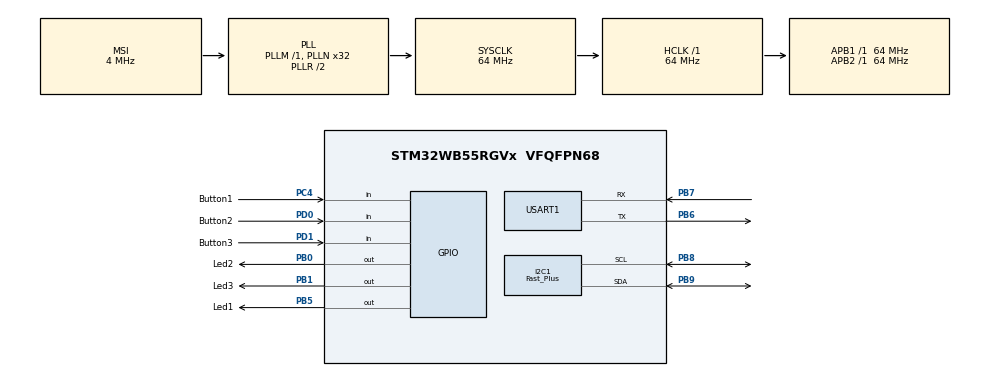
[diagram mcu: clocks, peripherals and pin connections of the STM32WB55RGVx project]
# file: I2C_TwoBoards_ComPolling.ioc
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Dma.Request0=USART1_TX
Dma.Request1=USART1_RX
Dma.USART1_RX.1.Direction=DMA_PERIPH_TO_MEMORY
Dma.USART1_RX.1.EventEnable=DISABLE
Dma.USART1_RX.1.Instance=DMA1_Channel2
Dma.USART1_RX.1.MemDataAlignment=DMA_MDATAALIGN_BYTE
Dma.USART1_RX.1.MemInc=DMA_MINC_ENABLE
Dma.USART1_RX.1.Mode=DMA_NORMAL
Dma.USART1_RX.1.PeriphDataAlignment=DMA_PDATAALIGN_BYTE
Dma.USART1_RX.1.PeriphInc=DMA_PINC_DISABLE
Dma.USART1_RX.1.Polarity=HAL_DMAMUX_REQ_GEN_RISING
Dma.USART1_RX.1.Priority=DMA_PRIORITY_LOW
Dma.USART1_RX.1.RequestNumber=1
Dma.USART1_RX.1.SignalID=NONE
Dma.USART1_RX.1.SyncEnable=DISABLE
Dma.USART1_RX.1.SyncPolarity=HAL_DMAMUX_SYNC_NO_EVENT
Dma.USART1_RX.1.SyncRequestNumber=1
Dma.USART1_RX.1.SyncSignalID=NONE
Dma.USART1_TX.0.Direction=DMA_MEMORY_TO_PERIPH
Dma.USART1_TX.0.EventEnable=DISABLE
Dma.USART1_TX.0.Instance=DMA1_Channel1
Dma.USART1_TX.0.MemDataAlignment=DMA_MDATAALIGN_BYTE
Dma.USART1_TX.0.MemInc=DMA_MINC_ENABLE
Dma.USART1_TX.0.Mode=DMA_NORMAL
Dma.USART1_TX.0.PeriphDataAlignment=DMA_PDATAALIGN_BYTE
Dma.USART1_TX.0.PeriphInc=DMA_PINC_DISABLE
Dma.USART1_TX.0.Polarity=HAL_DMAMUX_REQ_GEN_RISING
Dma.USART1_TX.0.Priority=DMA_PRIORITY_LOW
Dma.USART1_TX.0.RequestNumber=1
Dma.USART1_TX.0.SignalID=NONE
Dma.USART1_TX.0.SyncEnable=DISABLE
Dma.USART1_TX.0.SyncPolarity=HAL_DMAMUX_SYNC_NO_EVENT
Dma.USART1_TX.0.SyncRequestNumber=1
Dma.USART1_TX.0.SyncSignalID=NONE
I2C1.AddressingMode=I2C_ADDRESSINGMODE_10BIT
I2C1.Analog_Filter=I2C_ANALOGFILTER_ENABLE
I2C1.DualAddressMode=I2C_DUALADDRESS_DISABLE
I2C1.GeneralCallMode=I2C_GENERALCALL_DISABLE
I2C1.I2C_Coeff_DF=0
I2C1.I2C_Fall_Time=2
I2C1.I2C_Rise_Time=26
I2C1.I2C_Speed_Mode=I2C_Fast_Plus
I2C1.NoStretchMode=I2C_NOSTRETCH_DISABLE
I2C1.OwnAddress=I2C_ADDRESS
I2C1.Speed=1000
I2C1.Timing=0x00400B27
Mcu.Family=STM32WB
Mcu.Name=STM32WB55RGVx
Mcu.Package=VFQFPN68
Mcu.UserConstants=I2C_ADDRESS,0x30F
NVIC.DMA1_Channel1_IRQn=true\:0\:0\:false\:false\:true\:false\:true
NVIC.DMA1_Channel2_IRQn=true\:0\:0\:false\:false\:true\:false\:true
NVIC.PriorityGroup=NVIC_PRIORITYGROUP_4
NVIC.USART1_IRQn=true\:0\:0\:false\:false\:true\:true\:true
PB0.GPIO_Label=Led2
PB0.GPIO_PuPd=GPIO_PULLDOWN
PB0.Signal=GPIO_Output
PB1.GPIO_Label=Led3
PB1.GPIO_PuPd=GPIO_PULLDOWN
PB1.Signal=GPIO_Output
PB5.GPIO_Label=Led1
PB5.GPIO_PuPd=GPIO_PULLDOWN
PB5.Signal=GPIO_Output
PB6.Mode=Asynchronous
PB6.Signal=USART1_TX
PB7.Mode=Asynchronous
PB7.Signal=USART1_RX
PB8.Mode=I2C
PB8.Signal=I2C1_SCL
PB9.Mode=I2C
PB9.Signal=I2C1_SDA
PC4.GPIO_Label=Button1
PC4.GPIO_PuPd=GPIO_PULLUP
PC4.Signal=GPIO_Input
PD0.GPIO_Label=Button2
PD0.GPIO_PuPd=GPIO_PULLUP
PD0.Signal=GPIO_Input
PD1.GPIO_Label=Button3
PD1.GPIO_PuPd=GPIO_PULLUP
PD1.Signal=GPIO_Input
ProjectManager.HeapSize=0x200
ProjectManager.StackSize=0x400
ProjectManager.TargetToolchain=STM32CubeIDE
RCC.ADCFreq_Value=16000000
RCC.AHB2CLKDivider=RCC_SYSCLK_DIV2
RCC.AHBFreq_Value=64000000
RCC.APB1Freq_Value=64000000
RCC.APB1TimFreq_Value=64000000
RCC.APB2Freq_Value=64000000
RCC.APB2TimFreq_Value=64000000
RCC.APB3Freq_Value=16000000
RCC.CodegenConfigPeriph=false
RCC.CortexFreq_Value=64000000
RCC.HCLKFreq_Value=64000000
RCC.HSE_VALUE=8000000
RCC.HSI48_VALUE=48000000
RCC.HSI_VALUE=16000000
RCC.LSE_VALUE=32768
RCC.MSI_VALUE=4000000
RCC.PLLN=32
RCC.PLLP=RCC_PLLP_DIV5
RCC.PLLQ=4
RCC.SYSCLKFreq_VALUE=64000000
RCC.SYSCLKSource=RCC_SYSCLKSOURCE_PLLCLK
RCC.USBFreq_Value=16000000
RCC.VCOOutputFreq_Value=128000000
USART1.VirtualMode-Asynchronous=VM_ASYNC
board=custom

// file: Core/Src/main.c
/* USER CODE BEGIN Header */
/**
  ******************************************************************************
  * @file           : main.c
  * @brief          : Main program body
  ******************************************************************************
  * @attention
  *
  * <h2><center>&copy; Copyright (c) 2022 STMicroelectronics.
  * All rights reserved.</center></h2>
  *
  * This software component is licensed by ST under BSD 3-Clause license,
  * the "License"; You may not use this file except in compliance with the
  * License. You may obtain a copy of the License at:
  *                        opensource.org/licenses/BSD-3-Clause
  *
  ******************************************************************************
  */
/* USER CODE END Header */
#include "main.h"

I2C_HandleTypeDef hi2c1;

UART_HandleTypeDef huart1;
DMA_HandleTypeDef hdma_usart1_tx;
DMA_HandleTypeDef hdma_usart1_rx;

/* USER CODE BEGIN PV */
#define TXBUFFERSIZE 8
#define RXBUFFERSIZE 8
uint8_t aTxBuffer[TXBUFFERSIZE] = "ABCD1234";
uint8_t aRxBuffer[RXBUFFERSIZE];
/* USER CODE END PV */

void SystemClock_Config(void);
static void MX_GPIO_Init(void);
static void MX_DMA_Init(void);
static void MX_I2C1_Init(void);
static void MX_USART1_UART_Init(void);
/* USER CODE BEGIN PFP */
#ifdef __GNUC__
/* With GCC, small printf (option LD Linker->Libraries->Small printf
   set to 'Yes') calls __io_putchar() */
#define PUTCHAR_PROTOTYPE int __io_putchar(int ch)
#else
#define PUTCHAR_PROTOTYPE int fputc(int ch, FILE *f)
#endif /* __GNUC__ */
/* USER CODE END PFP */

int main(void)
{

  /* MCU Configuration--------------------------------------------------------*/

  /* Reset of all peripherals, Initializes the Flash interface and the Systick. */
  HAL_Init();

  /* Configure the system clock */
  SystemClock_Config();

  /* Initialize all configured peripherals */
  MX_GPIO_Init();
  MX_DMA_Init();
  MX_I2C1_Init();
  MX_USART1_UART_Init();

  /* Infinite loop */
  /* USER CODE BEGIN WHILE */
  while (1)
  {
	  HAL_Delay(10);
    /* USER CODE END WHILE */

    /* USER CODE BEGIN 3 */
	  printf("!!! Start !!! \n");
	/*
	Step 0 : startup, Led 1 on both board
	Step 1 : Slave start receiving
	Step 2 : Press Master button 1 -> Master start sending -> If ok LED 2 on Master + Slave board
	Step 3 : Slave start sending back
	Step 4 : Master start receiving. If ok LED 3 on Master + Slave board
	*/

//#define MASTER
//
//#ifdef MASTER
//	  HAL_GPIO_TogglePin(Led1_GPIO_Port, Led1_Pin);
//	  while (HAL_GPIO_ReadPin(Button1_GPIO_Port, Button1_Pin) != GPIO_PIN_RESET) {}
//
//	  while(HAL_I2C_Master_Transmit(&hi2c1, (uint16_t)I2C_ADDRESS, (uint8_t*)aTxBuffer, TXBUFFERSIZE, 1000)!= HAL_OK){}
//	  HAL_GPIO_TogglePin(Led2_GPIO_Port, Led2_Pin);
//	  while(HAL_I2C_Master_Receive (&hi2c1, (uint16_t)I2C_ADDRESS, (uint8_t *)aRxBuffer, RXBUFFERSIZE, 1000) != HAL_OK){}
//	  HAL_GPIO_TogglePin(Led3_GPIO_Port, Led3_Pin);
//#else
//	  HAL_GPIO_TogglePin(Led1_GPIO_Port, Led1_Pin);
//	  while(HAL_I2C_Slave_Receive(&hi2c1, (uint8_t *)aRxBuffer, RXBUFFERSIZE, 1000) != HAL_OK){}
//	  HAL_GPIO_TogglePin(Led2_GPIO_Port, Led2_Pin);
//	  while(HAL_I2C_Slave_Transmit(&hi2c1, (uint8_t*)aTxBuffer, TXBUFFERSIZE, 1000)!= HAL_OK){}
//	  HAL_GPIO_TogglePin(Led3_GPIO_Port, Led3_Pin);
//#endif

	  while (1)
	  {
		  HAL_Delay(1000);
//		  char tx_buff[]={'A','B','C','D','1','2','3','4','5','6'};
//		  HAL_UART_Transmit(&huart1,tx_buff,10,1000);
//		  HAL_UART_Transmit_DMA(&huart1,tx_buff,10);
		  printf("!!! Loop !!! \n");
	  }
	  /* USER CODE END WHILE */
  }
  /* USER CODE END 3 */
}

void SystemClock_Config(void)
{
  RCC_OscInitTypeDef RCC_OscInitStruct = {0};
  RCC_ClkInitTypeDef RCC_ClkInitStruct = {0};

  /** Initializes the RCC Oscillators according to the specified parameters
  * in the RCC_OscInitTypeDef structure.
  */
  RCC_OscInitStruct.OscillatorType = RCC_OSCILLATORTYPE_MSI;
  RCC_OscInitStruct.MSIState = RCC_MSI_ON;
  RCC_OscInitStruct.MSICalibrationValue = RCC_MSICALIBRATION_DEFAULT;
  RCC_OscInitStruct.MSIClockRange = RCC_MSIRANGE_6;
  RCC_OscInitStruct.PLL.PLLState = RCC_PLL_ON;
  RCC_OscInitStruct.PLL.PLLSource = RCC_PLLSOURCE_MSI;
  RCC_OscInitStruct.PLL.PLLM = RCC_PLLM_DIV1;
  RCC_OscInitStruct.PLL.PLLN = 32;
  RCC_OscInitStruct.PLL.PLLP = RCC_PLLP_DIV5;
  RCC_OscInitStruct.PLL.PLLR = RCC_PLLR_DIV2;
  RCC_OscInitStruct.PLL.PLLQ = 4;
  if (HAL_RCC_OscConfig(&RCC_OscInitStruct) != HAL_OK)
  {
    Error_Handler();
  }
  /** Configure the SYSCLKSource, HCLK, PCLK1 and PCLK2 clocks dividers
  */
  RCC_ClkInitStruct.ClockType = RCC_CLOCKTYPE_HCLK4|RCC_CLOCKTYPE_HCLK2
                              |RCC_CLOCKTYPE_HCLK|RCC_CLOCKTYPE_SYSCLK
                              |RCC_CLOCKTYPE_PCLK1|RCC_CLOCKTYPE_PCLK2;
  RCC_ClkInitStruct.SYSCLKSource = RCC_SYSCLKSOURCE_PLLCLK;
  RCC_ClkInitStruct.AHBCLKDivider = RCC_SYSCLK_DIV1;
  RCC_ClkInitStruct.APB1CLKDivider = RCC_HCLK_DIV1;
  RCC_ClkInitStruct.APB2CLKDivider = RCC_HCLK_DIV1;
  RCC_ClkInitStruct.AHBCLK2Divider = RCC_SYSCLK_DIV2;
  RCC_ClkInitStruct.AHBCLK4Divider = RCC_SYSCLK_DIV1;

  if (HAL_RCC_ClockConfig(&RCC_ClkInitStruct, FLASH_LATENCY_3) != HAL_OK)
  {
    Error_Handler();
  }
  /** Initializes the peripherals clocks
  */
}

static void MX_I2C1_Init(void)
{

  hi2c1.Instance = I2C1;
  hi2c1.Init.Timing = 0x00400B27;
  hi2c1.Init.OwnAddress1 = I2C_ADDRESS;
  hi2c1.Init.AddressingMode = I2C_ADDRESSINGMODE_10BIT;
  hi2c1.Init.DualAddressMode = I2C_DUALADDRESS_DISABLE;
  hi2c1.Init.OwnAddress2 = 0;
  hi2c1.Init.OwnAddress2Masks = I2C_OA2_NOMASK;
  hi2c1.Init.GeneralCallMode = I2C_GENERALCALL_DISABLE;
  hi2c1.Init.NoStretchMode = I2C_NOSTRETCH_DISABLE;
  if (HAL_I2C_Init(&hi2c1) != HAL_OK)
  {
    Error_Handler();
  }
  /** Configure Analogue filter
  */
  if (HAL_I2CEx_ConfigAnalogFilter(&hi2c1, I2C_ANALOGFILTER_ENABLE) != HAL_OK)
  {
    Error_Handler();
  }
  /** Configure Digital filter
  */
  if (HAL_I2CEx_ConfigDigitalFilter(&hi2c1, 0) != HAL_OK)
  {
    Error_Handler();
  }
  /** I2C Enable Fast Mode Plus
  */
  HAL_I2CEx_EnableFastModePlus(I2C_FASTMODEPLUS_I2C1);

}

static void MX_USART1_UART_Init(void)
{

  huart1.Instance = USART1;
  huart1.Init.BaudRate = 115200;
  huart1.Init.WordLength = UART_WORDLENGTH_8B;
  huart1.Init.StopBits = UART_STOPBITS_1;
  huart1.Init.Parity = UART_PARITY_NONE;
  huart1.Init.Mode = UART_MODE_TX_RX;
  huart1.Init.HwFlowCtl = UART_HWCONTROL_NONE;
  huart1.Init.OverSampling = UART_OVERSAMPLING_16;
  huart1.Init.OneBitSampling = UART_ONE_BIT_SAMPLE_DISABLE;
  huart1.Init.ClockPrescaler = UART_PRESCALER_DIV1;
  huart1.AdvancedInit.AdvFeatureInit = UART_ADVFEATURE_NO_INIT;
  if (HAL_UART_Init(&huart1) != HAL_OK)
  {
    Error_Handler();
  }
  if (HAL_UARTEx_SetTxFifoThreshold(&huart1, UART_TXFIFO_THRESHOLD_1_8) != HAL_OK)
  {
    Error_Handler();
  }
  if (HAL_UARTEx_SetRxFifoThreshold(&huart1, UART_RXFIFO_THRESHOLD_1_8) != HAL_OK)
  {
    Error_Handler();
  }
  if (HAL_UARTEx_DisableFifoMode(&huart1) != HAL_OK)
  {
    Error_Handler();
  }

}

static void MX_DMA_Init(void)
{

  /* DMA controller clock enable */
  __HAL_RCC_DMAMUX1_CLK_ENABLE();
  __HAL_RCC_DMA1_CLK_ENABLE();

  /* DMA interrupt init */
  /* DMA1_Channel1_IRQn interrupt configuration */
  HAL_NVIC_SetPriority(DMA1_Channel1_IRQn, 0, 0);
  HAL_NVIC_EnableIRQ(DMA1_Channel1_IRQn);
  /* DMA1_Channel2_IRQn interrupt configuration */
  HAL_NVIC_SetPriority(DMA1_Channel2_IRQn, 0, 0);
  HAL_NVIC_EnableIRQ(DMA1_Channel2_IRQn);

}

static void MX_GPIO_Init(void)
{
  GPIO_InitTypeDef GPIO_InitStruct = {0};

  /* GPIO Ports Clock Enable */
  __HAL_RCC_GPIOB_CLK_ENABLE();
  __HAL_RCC_GPIOC_CLK_ENABLE();
  __HAL_RCC_GPIOD_CLK_ENABLE();

  /*Configure GPIO pin Output Level */
  HAL_GPIO_WritePin(GPIOB, Led2_Pin|Led3_Pin|Led1_Pin, GPIO_PIN_RESET);

  /*Configure GPIO pin : Button1_Pin */
  GPIO_InitStruct.Pin = Button1_Pin;
  GPIO_InitStruct.Mode = GPIO_MODE_INPUT;
  GPIO_InitStruct.Pull = GPIO_PULLUP;
  HAL_GPIO_Init(Button1_GPIO_Port, &GPIO_InitStruct);

  /*Configure GPIO pins : Led2_Pin Led3_Pin Led1_Pin */
  GPIO_InitStruct.Pin = Led2_Pin|Led3_Pin|Led1_Pin;
  GPIO_InitStruct.Mode = GPIO_MODE_OUTPUT_PP;
  GPIO_InitStruct.Pull = GPIO_PULLDOWN;
  GPIO_InitStruct.Speed = GPIO_SPEED_FREQ_LOW;
  HAL_GPIO_Init(GPIOB, &GPIO_InitStruct);

  /*Configure GPIO pins : Button2_Pin Button3_Pin */
  GPIO_InitStruct.Pin = Button2_Pin|Button3_Pin;
  GPIO_InitStruct.Mode = GPIO_MODE_INPUT;
  GPIO_InitStruct.Pull = GPIO_PULLUP;
  HAL_GPIO_Init(GPIOD, &GPIO_InitStruct);

}

/* USER CODE BEGIN 4 */
PUTCHAR_PROTOTYPE
{
  /* Place your implementation of fputc here */
  /* e.g. write a character to the USART1 and Loop until the end of transmission */
//  HAL_UART_Transmit(&huart1, (uint8_t *)&ch, 1, 0xFFFF);
  HAL_UART_Transmit_DMA(&huart1, (uint8_t *)&ch, 1);
  return ch;
}
/* USER CODE END 4 */

void Error_Handler(void)
{
}

/************************ (C) COPYRIGHT STMicroelectronics *****END OF FILE****/
